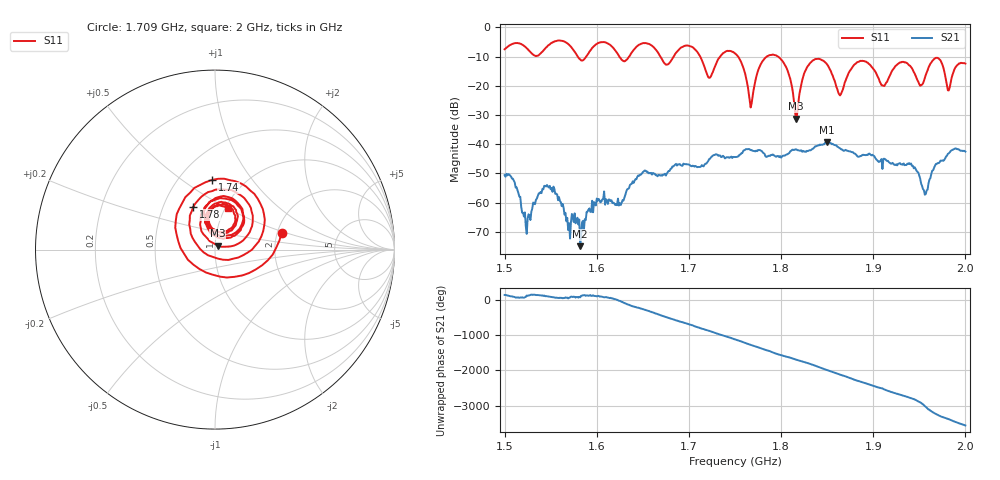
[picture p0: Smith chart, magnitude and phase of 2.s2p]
! NanoVNA-App by SYSJOINT et al v1.1.209 (+OD18)
! Date: 2026-01-21 14:27:51
! Start: 1,5GHz Stop: 2GHz Points: 501
! S-Parameter data: F S11 S21 S12 S22
# Hz S RI R 50
!  Frequency  S11_Real  S11_Imag  S21_Real  S21_Imag  S12_Real  S12_Imag  S22_Real  S22_Imag
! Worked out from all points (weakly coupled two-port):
!   501 points, 1.5 GHz to 2 GHz, reference 50 ohm
!   highest |S21| = -39.25 dB at 1.85 GHz (marker M1); lowest = -74.9 dB at 1.582 GHz (marker M2)
!   lowest |S11| = -31.2 dB at 1.816 GHz (marker M3), VSWR 1.06, Z = 51.6 + j2.29 ohm
!   |S11| at or under -10 dB: 1.712 GHz to 1.734 GHz (21.49 MHz wide, 1.25 % of centre); 1.753 GHz to 1.784 GHz (30.98 MHz wide, 1.75 % of centre); 1.797 GHz to end of sweep (the widest 3 of 6)
!   S12 and S22 are empty: the file has one direction only
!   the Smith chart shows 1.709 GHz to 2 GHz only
!   S11 on the Smith chart (normalised r, x): 1.709 GHz: 2.11, +0.46; 1.74 GHz: 0.72, +0.66; 1.78 GHz: 0.71, +0.36; 2 GHz: 1.03, +0.50
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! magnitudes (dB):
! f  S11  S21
! 1.5 GHz  -7.5  -50.6
! 1.523 GHz  -6.8  -68.0
! 1.545 GHz  -6.9  -54.4
! 1.582 GHz  -10.9  -74.9
! 1.584 GHz  -11.3  -66.7
! 1.599 GHz  -5.8  -61.0
! 1.667 GHz  -8.9  -50.5
! 1.709 GHz  -8.3  -47.9
! 1.722 GHz  -17.3  -45.1
! 1.74 GHz  -8.2  -44.6
! 1.75 GHz  -8.9  -44.4
! 1.767 GHz  -27.4  -42.0
! 1.78 GHz  -11.5  -42.7
! 1.803 GHz  -12.2  -43.9
! 1.816 GHz  -31.2  -41.7
! 1.834 GHz  -11.4  -41.6
! 1.85 GHz  -12.7  -39.3
! 1.864 GHz  -23.3  -41.4
! 1.885 GHz  -11.6  -44.2
! 1.917 GHz  -17.2  -46.2
! 1.957 GHz  -16.2  -57.0
! 2 GHz  -12.4  -42.5
